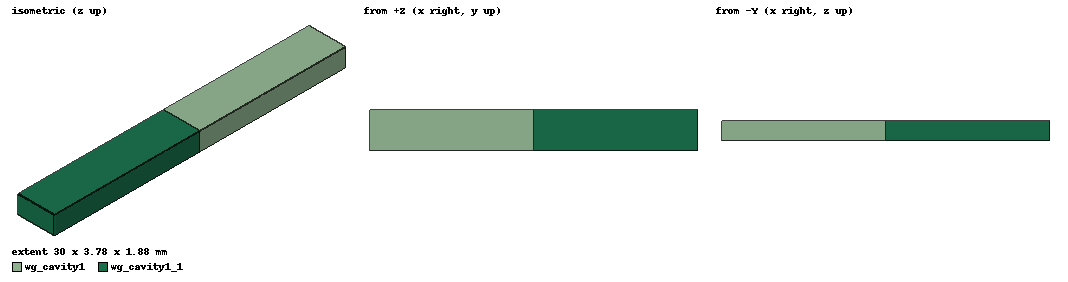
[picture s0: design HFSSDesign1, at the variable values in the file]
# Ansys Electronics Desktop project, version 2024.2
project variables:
  $eps_r1 = 5
  $eps_r2 = 10
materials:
  vacuum: permittivity=1
  Taconic RF-60 (tm): permittivity=6.15 dielectric_loss_tangent=0.0028
  my_1_FR4_epoxy: permittivity=$eps_r1 dielectric_loss_tangent=0.02
  my_2_FR4_epoxy: permittivity=$eps_r2 dielectric_loss_tangent=0.02

design HFSSDesign1 (HFSS, HFSS Modal Network, model units mm)
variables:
  length = 15mm
  width = 3.78mm
  height = 1.88mm
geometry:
  wg_cavity1 [my_1_FR4_epoxy] = box(corner=(0mm, 0mm, 0mm), size=(length, width, height))
  wg_cavity1_1 [my_2_FR4_epoxy] = wg_cavity1.duplicate_along_line(step=(15mm, 0mm, 0mm), total=2)
  coordinate_system RelativeCS1 = origin=(15mm, 1.89mm, 0.94mm) x=(1mm, 0mm, 0mm) y=(0mm, 1mm, 0mm)
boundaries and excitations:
  Output: Wave Port Faces=wg_cavity1_1.face(at (30, 1.89, 0.94)) WavePortType=Modal NumModes=5 Modes{Mode1{CharImp=Zpi} Mode2{CharImp=Zpi} Mode3{CharImp=Zpi} Mode4{CharImp=Zpi} Mode5{CharImp=Zpi}}
  Input: Wave Port Faces=wg_cavity1.face(-x) WavePortType=Modal NumModes=5 Modes{Mode1{CharImp=Zpi} Mode2{CharImp=Zpi} Mode3{CharImp=Zpi} Mode4{CharImp=Zpi} Mode5{CharImp=Zpi}}
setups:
  Setup1: HfssDriven Frequency=30GHz MaxDeltaS=0.02 MaximumPasses=6 MinimumPasses=1 MinimumConvergedPasses=1 PercentRefinement=30 BasisOrder=1 PortAccuracy=2 DrivenSolverType="Direct Solver"
    sweep Sweep: 15GHz to 45GHz, 10 points; Type=Discrete SaveFields
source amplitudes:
  Output:1: 1W 0deg
  Output:2..Output:5, Input:1..Input:5: 0W 0deg
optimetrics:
  ParametricSetup1: Parametric Sim._Setups=[Setup1]
    sweep $eps_r1: LIN 5 10 5
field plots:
  Mag_E1: E Field in wg_cavity1 on Setup1 : LastAdaptive at Freq=30GHz Phase=0deg
  Mag_E2: E Field in wg_cavity1_1 on Setup1 : LastAdaptive at Freq=30GHz Phase=0deg
